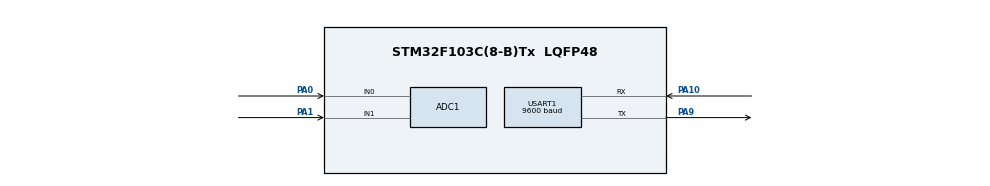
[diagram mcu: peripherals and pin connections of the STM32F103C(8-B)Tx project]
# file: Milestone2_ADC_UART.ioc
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ADC1.Channel-0\#ChannelRegularConversion=ADC_CHANNEL_0
ADC1.NbrOfConversionFlag=1
ADC1.Rank-0\#ChannelRegularConversion=1
ADC1.SamplingTime-0\#ChannelRegularConversion=ADC_SAMPLETIME_1CYCLE_5
ADC1.master=1
Mcu.Family=STM32F1
Mcu.Name=STM32F103C(8-B)Tx
Mcu.Package=LQFP48
NVIC.PriorityGroup=NVIC_PRIORITYGROUP_4
PA0-WKUP.Signal=ADCx_IN0
PA1.Signal=ADCx_IN1
PA10.Mode=Asynchronous
PA10.Signal=USART1_RX
PA9.Mode=Asynchronous
PA9.Signal=USART1_TX
ProjectManager.HeapSize=0x200
ProjectManager.StackSize=0x400
ProjectManager.TargetToolchain=STM32CubeIDE
RCC.APB1Freq_Value=8000000
RCC.APB2Freq_Value=8000000
SH.ADCx_IN0.0=ADC1_IN0,IN0
SH.ADCx_IN1.0=ADC1_IN1,IN1
USART1.BaudRate=9600
USART1.VirtualMode=VM_ASYNC
VP_SYS_VS_ND.Mode=No_Debug
board=custom

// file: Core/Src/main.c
/* USER CODE BEGIN Header */
/**
  ******************************************************************************
  * @file           : main.c
  * @brief          : Main program body
  ******************************************************************************
  * @attention
  *
  * Copyright (c) 2026 STMicroelectronics.
  * All rights reserved.
  *
  * This software is licensed under terms that can be found in the LICENSE file
  * in the root directory of this software component.
  * If no LICENSE file comes with this software, it is provided AS-IS.
  *
  ******************************************************************************
  */
/* USER CODE END Header */
#include "main.h"

/* USER CODE BEGIN Includes */
#include <stdio.h>
/* USER CODE END Includes */

ADC_HandleTypeDef hadc1;

UART_HandleTypeDef huart1;

/* USER CODE BEGIN PV */
uint32_t adc_temp;
uint32_t adc_throttle;

float engine_temp;
float throttle;

char msg[100];
/* USER CODE END PV */

void SystemClock_Config(void);
static void MX_GPIO_Init(void);
static void MX_ADC1_Init(void);
static void MX_USART1_UART_Init(void);
/* USER CODE BEGIN PFP */
uint32_t Read_ADC_Channel(uint32_t channel);
/* USER CODE END PFP */

int main(void)
{

  /* MCU Configuration--------------------------------------------------------*/

  /* Reset of all peripherals, Initializes the Flash interface and the Systick. */
  HAL_Init();

  /* Configure the system clock */
  SystemClock_Config();

  /* Initialize all configured peripherals */
  MX_GPIO_Init();
  MX_ADC1_Init();
  MX_USART1_UART_Init();

  /* Infinite loop */
  while (1)
  {
	adc_temp = Read_ADC_Channel(ADC_CHANNEL_0);
	adc_throttle = Read_ADC_Channel(ADC_CHANNEL_1);

	uint32_t engine_temp = (adc_temp * 100) / 4095;
	uint32_t throttle = (adc_throttle * 100) / 4095;

	int len = sprintf(msg,
	                  "Engine Temp = %lu C | Throttle = %lu %%\r\n",
	                  engine_temp,
	                  throttle);

	HAL_UART_Transmit(&huart1,
	                  (uint8_t *)msg,
	                  len,
	                  HAL_MAX_DELAY);

	HAL_Delay(500);
  }
}

void SystemClock_Config(void)
{
  RCC_OscInitTypeDef RCC_OscInitStruct = {0};
  RCC_ClkInitTypeDef RCC_ClkInitStruct = {0};
  RCC_PeriphCLKInitTypeDef PeriphClkInit = {0};

  /** Initializes the RCC Oscillators according to the specified parameters
  * in the RCC_OscInitTypeDef structure.
  */
  RCC_OscInitStruct.OscillatorType = RCC_OSCILLATORTYPE_HSI;
  RCC_OscInitStruct.HSIState = RCC_HSI_ON;
  RCC_OscInitStruct.HSICalibrationValue = RCC_HSICALIBRATION_DEFAULT;
  RCC_OscInitStruct.PLL.PLLState = RCC_PLL_NONE;
  if (HAL_RCC_OscConfig(&RCC_OscInitStruct) != HAL_OK)
  {
    Error_Handler();
  }

  /** Initializes the CPU, AHB and APB buses clocks
  */
  RCC_ClkInitStruct.ClockType = RCC_CLOCKTYPE_HCLK|RCC_CLOCKTYPE_SYSCLK
                              |RCC_CLOCKTYPE_PCLK1|RCC_CLOCKTYPE_PCLK2;
  RCC_ClkInitStruct.SYSCLKSource = RCC_SYSCLKSOURCE_HSI;
  RCC_ClkInitStruct.AHBCLKDivider = RCC_SYSCLK_DIV1;
  RCC_ClkInitStruct.APB1CLKDivider = RCC_HCLK_DIV1;
  RCC_ClkInitStruct.APB2CLKDivider = RCC_HCLK_DIV1;

  if (HAL_RCC_ClockConfig(&RCC_ClkInitStruct, FLASH_LATENCY_0) != HAL_OK)
  {
    Error_Handler();
  }
  PeriphClkInit.PeriphClockSelection = RCC_PERIPHCLK_ADC;
  PeriphClkInit.AdcClockSelection = RCC_ADCPCLK2_DIV2;
  if (HAL_RCCEx_PeriphCLKConfig(&PeriphClkInit) != HAL_OK)
  {
    Error_Handler();
  }
}

static void MX_ADC1_Init(void)
{

  ADC_ChannelConfTypeDef sConfig = {0};

  /** Common config
  */
  hadc1.Instance = ADC1;
  hadc1.Init.ScanConvMode = ADC_SCAN_DISABLE;
  hadc1.Init.ContinuousConvMode = DISABLE;
  hadc1.Init.DiscontinuousConvMode = DISABLE;
  hadc1.Init.ExternalTrigConv = ADC_SOFTWARE_START;
  hadc1.Init.DataAlign = ADC_DATAALIGN_RIGHT;
  hadc1.Init.NbrOfConversion = 1;
  if (HAL_ADC_Init(&hadc1) != HAL_OK)
  {
    Error_Handler();
  }

  /** Configure Regular Channel
  */
  sConfig.Channel = ADC_CHANNEL_0;
  sConfig.Rank = ADC_REGULAR_RANK_1;
  sConfig.SamplingTime = ADC_SAMPLETIME_1CYCLE_5;
  if (HAL_ADC_ConfigChannel(&hadc1, &sConfig) != HAL_OK)
  {
    Error_Handler();
  }

}

static void MX_USART1_UART_Init(void)
{

  huart1.Instance = USART1;
  huart1.Init.BaudRate = 9600;
  huart1.Init.WordLength = UART_WORDLENGTH_8B;
  huart1.Init.StopBits = UART_STOPBITS_1;
  huart1.Init.Parity = UART_PARITY_NONE;
  huart1.Init.Mode = UART_MODE_TX_RX;
  huart1.Init.HwFlowCtl = UART_HWCONTROL_NONE;
  huart1.Init.OverSampling = UART_OVERSAMPLING_16;
  if (HAL_UART_Init(&huart1) != HAL_OK)
  {
    Error_Handler();
  }

}

static void MX_GPIO_Init(void)
{

  /* GPIO Ports Clock Enable */
  __HAL_RCC_GPIOA_CLK_ENABLE();

}

/* USER CODE BEGIN 4 */
uint32_t Read_ADC_Channel(uint32_t channel)
{
    ADC_ChannelConfTypeDef sConfig = {0};

    sConfig.Channel = channel;
    sConfig.Rank = ADC_REGULAR_RANK_1;
    sConfig.SamplingTime = ADC_SAMPLETIME_55CYCLES_5;

    HAL_ADC_ConfigChannel(&hadc1, &sConfig);

    HAL_ADC_Start(&hadc1);

    HAL_ADC_PollForConversion(&hadc1, HAL_MAX_DELAY);

    uint32_t value = HAL_ADC_GetValue(&hadc1);

    HAL_ADC_Stop(&hadc1);

    return value;
}
/* USER CODE END 4 */

void Error_Handler(void)
{
  __disable_irq();
  while (1)
  {
  }
}
